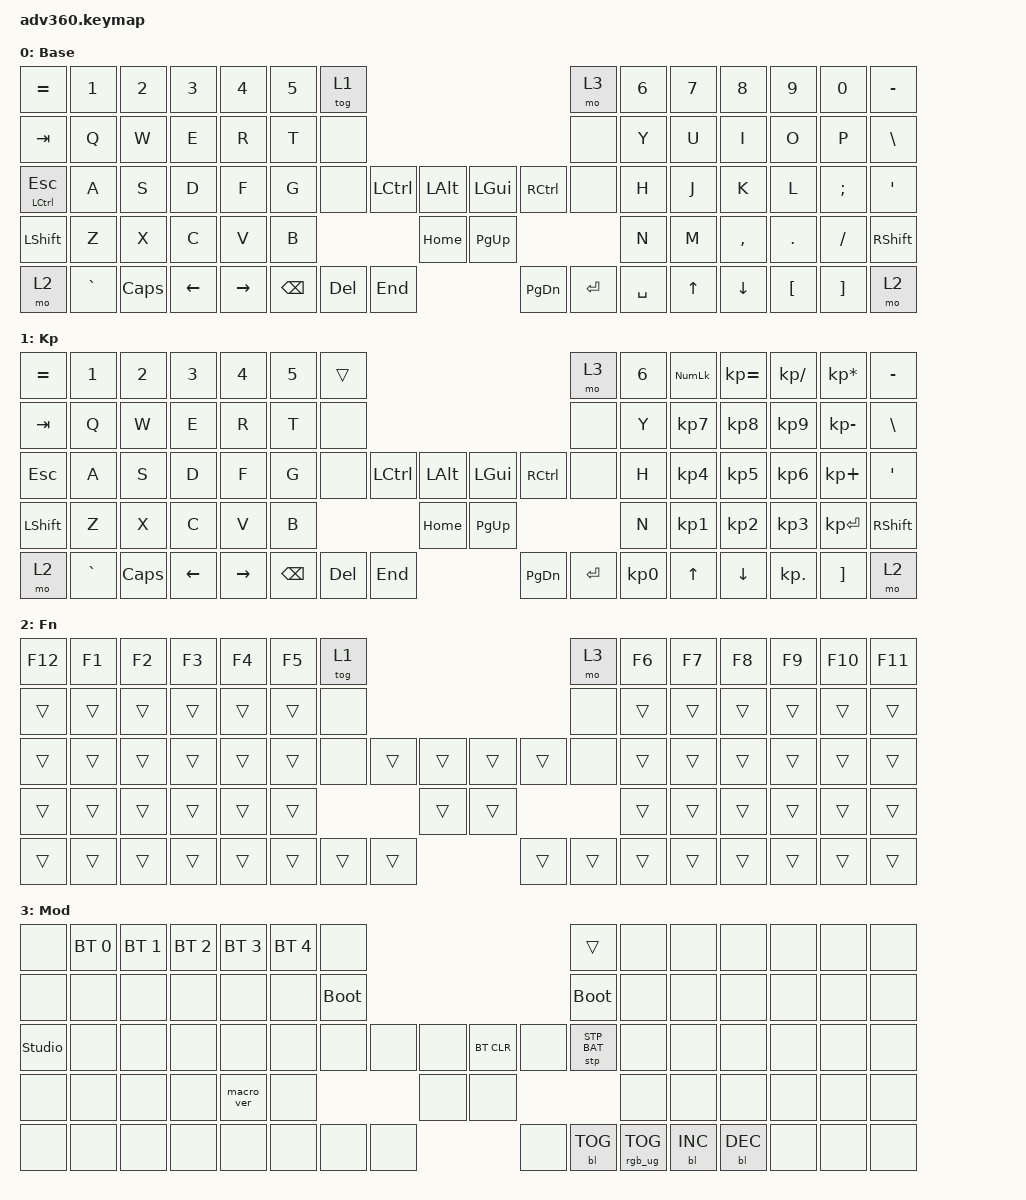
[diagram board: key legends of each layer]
#include <behaviors.dtsi>
#include <dt-bindings/zmk/keys.h>
#include <dt-bindings/zmk/bt.h>
#include <dt-bindings/zmk/rgb.h>
#include <dt-bindings/zmk/stp.h>
#include <dt-bindings/zmk/backlight.h>
#include <dt-bindings/zmk/pointing.h>

/ {
    behaviors {
      #include "macros.dtsi"
      #include "version.dtsi"

      hm: homerow_mods {
          compatible = "zmk,behavior-hold-tap";
          label = "HOMEROW_MODS";
          #binding-cells = <2>;
          tapping-term-ms = <200>;
          quick_tap_ms = <175>;
          flavor = "tap-preferred";
          bindings = <&kp>, <&kp>;
      };

      // ESC / CTRL : 単押し=ESC、長押し(または他キーとの同時押し)=CTRL
      ec: esc_ctrl {
          compatible = "zmk,behavior-hold-tap";
          label = "ESC_CTRL";
          #binding-cells = <2>;
          tapping-term-ms = <200>;
          quick-tap-ms = <150>;
          flavor = "balanced";
          bindings = <&kp>, <&kp>;
      };

      // ---- 日本語入力用マクロ (ローマ字を送出) ----
      // wait-ms / tap-ms は全マクロ共通で調整してください (USB想定=10ms、Bluetoothなら30ms以上を推奨)

      // a+Enter : 撥音 ann
      ja_ann: ja_ann {
          compatible = "zmk,behavior-macro";
          label = "ja_ann";
          #binding-cells = <0>;
          wait-ms = <10>;
          tap-ms = <10>;
          bindings = <&macro_tap &kp A &kp N &kp N>;
      };

      // i+Enter : 撥音 inn
      ja_inn: ja_inn {
          compatible = "zmk,behavior-macro";
          label = "ja_inn";
          #binding-cells = <0>;
          wait-ms = <10>;
          tap-ms = <10>;
          bindings = <&macro_tap &kp I &kp N &kp N>;
      };

      // u+Enter : 撥音 unn
      ja_unn: ja_unn {
          compatible = "zmk,behavior-macro";
          label = "ja_unn";
          #binding-cells = <0>;
          wait-ms = <10>;
          tap-ms = <10>;
          bindings = <&macro_tap &kp U &kp N &kp N>;
      };

      // e+Enter : 撥音 enn
      ja_enn: ja_enn {
          compatible = "zmk,behavior-macro";
          label = "ja_enn";
          #binding-cells = <0>;
          wait-ms = <10>;
          tap-ms = <10>;
          bindings = <&macro_tap &kp E &kp N &kp N>;
      };

      // o+Enter : 撥音 onn
      ja_onn: ja_onn {
          compatible = "zmk,behavior-macro";
          label = "ja_onn";
          #binding-cells = <0>;
          wait-ms = <10>;
          tap-ms = <10>;
          bindings = <&macro_tap &kp O &kp N &kp N>;
      };

      // A+Del : 拗音 ya
      ja_ya: ja_ya {
          compatible = "zmk,behavior-macro";
          label = "ja_ya";
          #binding-cells = <0>;
          wait-ms = <10>;
          tap-ms = <10>;
          bindings = <&macro_tap &kp Y &kp A>;
      };

      // U+Del : 拗音 yu
      ja_yu: ja_yu {
          compatible = "zmk,behavior-macro";
          label = "ja_yu";
          #binding-cells = <0>;
          wait-ms = <10>;
          tap-ms = <10>;
          bindings = <&macro_tap &kp Y &kp U>;
      };

      // O+Del : 拗音 yo
      ja_yo: ja_yo {
          compatible = "zmk,behavior-macro";
          label = "ja_yo";
          #binding-cells = <0>;
          wait-ms = <10>;
          tap-ms = <10>;
          bindings = <&macro_tap &kp Y &kp O>;
      };

      // I+Del : hi (dhi=でぃ, thi=てぃ, whi=うぃ)
      ja_hi: ja_hi {
          compatible = "zmk,behavior-macro";
          label = "ja_hi";
          #binding-cells = <0>;
          wait-ms = <10>;
          tap-ms = <10>;
          bindings = <&macro_tap &kp H &kp I>;
      };

      // E+Del : he (she=しぇ, che=ちぇ)
      ja_he: ja_he {
          compatible = "zmk,behavior-macro";
          label = "ja_he";
          #binding-cells = <0>;
          wait-ms = <10>;
          tap-ms = <10>;
          bindings = <&macro_tap &kp H &kp E>;
      };

      // A+BS : 二重母音 ai
      ja_ai: ja_ai {
          compatible = "zmk,behavior-macro";
          label = "ja_ai";
          #binding-cells = <0>;
          wait-ms = <10>;
          tap-ms = <10>;
          bindings = <&macro_tap &kp A &kp I>;
      };

      // I+BS : 二重母音 ii
      ja_ii: ja_ii {
          compatible = "zmk,behavior-macro";
          label = "ja_ii";
          #binding-cells = <0>;
          wait-ms = <10>;
          tap-ms = <10>;
          bindings = <&macro_tap &kp I &kp I>;
      };

      // U+BS : 二重母音 ui
      ja_ui: ja_ui {
          compatible = "zmk,behavior-macro";
          label = "ja_ui";
          #binding-cells = <0>;
          wait-ms = <10>;
          tap-ms = <10>;
          bindings = <&macro_tap &kp U &kp I>;
      };

      // E+BS : 二重母音 ei
      ja_ei: ja_ei {
          compatible = "zmk,behavior-macro";
          label = "ja_ei";
          #binding-cells = <0>;
          wait-ms = <10>;
          tap-ms = <10>;
          bindings = <&macro_tap &kp E &kp I>;
      };

      // O+BS : 二重母音 ou
      ja_ou: ja_ou {
          compatible = "zmk,behavior-macro";
          label = "ja_ou";
          #binding-cells = <0>;
          wait-ms = <10>;
          tap-ms = <10>;
          bindings = <&macro_tap &kp O &kp U>;
      };

      // O+Del+BS : ょう (3キー・現在は未使用)
      ja_you: ja_you {
          compatible = "zmk,behavior-macro";
          label = "ja_you";
          #binding-cells = <0>;
          wait-ms = <10>;
          tap-ms = <10>;
          bindings = <&macro_tap &kp Y &kp O &kp U>;
      };

      // U+Del+BS : ゅう (3キー・現在は未使用)
      ja_yuu: ja_yuu {
          compatible = "zmk,behavior-macro";
          label = "ja_yuu";
          #binding-cells = <0>;
          wait-ms = <10>;
          tap-ms = <10>;
          bindings = <&macro_tap &kp Y &kp U &kp U>;
      };
    };

  keymap {
    compatible = "zmk,keymap";

    default_layer {
      display-name = "Base";
      bindings = <
        &kp EQUAL &kp N1    &kp N2   &kp N3   &kp N4     &kp N5 &tog 1                                                           &mo 3 &kp N6 &kp N7 &kp N8    &kp N9   &kp N0   &kp MINUS
        &kp TAB   &kp Q     &kp W    &kp E    &kp R      &kp T  &none                                                            &none &kp Y  &kp U  &kp I     &kp O    &kp P    &kp BSLH
        &ec LCTRL ESC &kp A     &kp S    &kp D    &kp F      &kp G  &none           &kp LCTRL &kp LALT &kp LGUI  &kp RCTRL           &none &kp H  &kp J  &kp K     &kp L    &kp SEMI &kp SQT
        &kp LSHFT &kp Z     &kp X    &kp C    &kp V      &kp B                            &kp HOME &kp PG_UP                           &kp N  &kp M  &kp COMMA &kp DOT  &kp FSLH &kp RSHFT
        &mo 2     &kp GRAVE &kp CAPS &kp LEFT &kp RIGHT                &kp BSPC &kp DEL   &kp END  &kp PG_DN &kp ENTER &kp SPACE              &kp UP &kp DOWN  &kp LBKT &kp RBKT &mo 2
      >;
    };
    keypad {
      display-name = "Kp";
      bindings = <
        &kp EQUAL &kp N1    &kp N2   &kp N3   &kp N4     &kp N5 &trans                                                           &mo 3 &kp N6 &kp KP_NUM &kp KP_EQUAL &kp KP_DIVIDE &kp KP_MULTIPLY &kp MINUS
        &kp TAB   &kp Q     &kp W    &kp E    &kp R      &kp T  &none                                                            &none &kp Y  &kp KP_N7  &kp KP_N8    &kp KP_N9     &kp KP_MINUS    &kp BSLH
        &kp ESC   &kp A     &kp S    &kp D    &kp F      &kp G  &none           &kp LCTRL &kp LALT &kp LGUI  &kp RCTRL           &none &kp H  &kp KP_N4  &kp KP_N5    &kp KP_N6     &kp KP_PLUS     &kp SQT
        &kp LSHFT &kp Z     &kp X    &kp C    &kp V      &kp B                            &kp HOME &kp PG_UP                           &kp N  &kp KP_N1  &kp KP_N2    &kp KP_N3     &kp KP_ENTER    &kp RSHFT
        &mo 2     &kp GRAVE &kp CAPS &kp LEFT &kp RIGHT                &kp BSPC &kp DEL   &kp END  &kp PG_DN &kp ENTER &kp KP_N0              &kp UP     &kp DOWN     &kp KP_DOT    &kp RBKT        &mo 2
      >;
    };
    fn {
      display-name = "Fn";
      bindings = <
        &kp F12 &kp F1 &kp F2 &kp F3 &kp F4 &kp F5 &tog 1                                           &mo 3 &kp F6 &kp F7 &kp F8 &kp F9 &kp F10 &kp F11
        &trans &trans &trans &trans &trans &trans  &none                                           &none &trans &trans &trans &trans  &trans  &trans
        &trans &trans &trans &trans &trans &trans  &none        &trans &trans &trans &trans        &none &trans &trans &trans &trans  &trans  &trans
        &trans &trans &trans &trans &trans &trans                      &trans &trans                     &trans &trans &trans &trans  &trans  &trans
        &trans &trans &trans &trans &trans               &trans &trans &trans &trans &trans &trans              &trans &trans &trans  &trans  &trans
      >;
    };
    mod {
      display-name = "Mod";
      bindings = <
        &none &bt BT_SEL 0 &bt BT_SEL 1 &bt BT_SEL 2 &bt BT_SEL 3 &bt BT_SEL 4 &none                                                                     &trans                 &none        &none        &none        &none &none &none
        &none &none        &none        &none        &none        &none        &bootloader                                                               &bootloader            &none        &none        &none        &none &none &none
        &studio_unlock &none        &none        &none        &none        &none        &none                   &none &none &bt BT_CLR &none                      &stp STP_BAT &none        &none        &none        &none &none &none
        &none &none        &none        &none        &macro_ver   &none                                      &none &none                                                        &none        &none        &none        &none &none &none
        &none &none        &none        &none        &none                                       &none &none &none &none      &bl BL_TOG &rgb_ug RGB_TOG                                     &bl BL_INC   &bl BL_DEC   &none &none &none
      >;
    };
    extra1 { 
      display-name = "Red";    
      status = "reserved";
    };

    extra2 { 
      display-name = "Purple";    
      status = "reserved";
    };

    extra3 { 
      display-name = "Cyan";    
      status = "reserved";
    };

    extra4 { 
      display-name = "Yellow";    
      status = "reserved";
    };
  };

  // ======== 日本語入力コンボ (ベースレイヤーのみ) ========
  // 子音を普通に打ち、直後に「母音 + 親指キー」を同時押しする。
  // ん=母音+Enter / 拗音(ya yu yo hi he)=母音+Del / 二重母音=母音+BS または 母音+PgDn / 長音=Del+Enter
  // timeout-ms を全コンボで調整してください。
  // 並び順: 長音(Del系) → 2キー。通常=60ms、長音(Del+Enter)=80ms。3キー(ょう/ゅう)は外してある (ja_you/ja_yuu マクロは残置)。
  combos {
    compatible = "zmk,combos";

    // Del+Enter -> ー
    combo_choon_enter {
      timeout-ms = <80>;
      key-positions = <66 69>;
      layers = <0>;
      bindings = <&kp MINUS>;
    };




    // A+Enter -> ann
    combo_a_nn {
      timeout-ms = <60>;
      key-positions = <29 69>;
      layers = <0>;
      bindings = <&ja_ann>;
    };

    // I+Enter -> inn
    combo_i_nn {
      timeout-ms = <60>;
      key-positions = <24 69>;
      layers = <0>;
      bindings = <&ja_inn>;
    };

    // U+Enter -> unn
    combo_u_nn {
      timeout-ms = <60>;
      key-positions = <23 69>;
      layers = <0>;
      bindings = <&ja_unn>;
    };

    // E+Enter -> enn
    combo_e_nn {
      timeout-ms = <60>;
      key-positions = <17 69>;
      layers = <0>;
      bindings = <&ja_enn>;
    };

    // O+Enter -> onn
    combo_o_nn {
      timeout-ms = <60>;
      key-positions = <25 69>;
      layers = <0>;
      bindings = <&ja_onn>;
    };

    // A+Del -> ja_ya
    combo_a_yoon {
      timeout-ms = <60>;
      key-positions = <29 66>;
      layers = <0>;
      bindings = <&ja_ya>;
    };

    // U+Del -> ja_yu
    combo_u_yoon {
      timeout-ms = <60>;
      key-positions = <23 66>;
      layers = <0>;
      bindings = <&ja_yu>;
    };

    // O+Del -> ja_yo
    combo_o_yoon {
      timeout-ms = <60>;
      key-positions = <25 66>;
      layers = <0>;
      bindings = <&ja_yo>;
    };

    // I+Del -> ja_hi
    combo_i_yoon {
      timeout-ms = <60>;
      key-positions = <24 66>;
      layers = <0>;
      bindings = <&ja_hi>;
    };

    // E+Del -> ja_he
    combo_e_yoon {
      timeout-ms = <60>;
      key-positions = <17 66>;
      layers = <0>;
      bindings = <&ja_he>;
    };

    // A+BS -> ja_ai
    combo_a_bs {
      timeout-ms = <60>;
      key-positions = <29 65>;
      layers = <0>;
      bindings = <&ja_ai>;
    };

    // I+BS -> ja_ii
    combo_i_bs {
      timeout-ms = <60>;
      key-positions = <24 65>;
      layers = <0>;
      bindings = <&ja_ii>;
    };

    // U+BS -> ja_ui
    combo_u_bs {
      timeout-ms = <60>;
      key-positions = <23 65>;
      layers = <0>;
      bindings = <&ja_ui>;
    };

    // E+BS -> ja_ei
    combo_e_bs {
      timeout-ms = <60>;
      key-positions = <17 65>;
      layers = <0>;
      bindings = <&ja_ei>;
    };

    // O+BS -> ja_ou
    combo_o_bs {
      timeout-ms = <60>;
      key-positions = <25 65>;
      layers = <0>;
      bindings = <&ja_ou>;
    };

    // A+PgDn -> ja_ai (二重母音の第2ペダル)
    combo_a_pgdn {
      timeout-ms = <60>;
      key-positions = <29 68>;
      layers = <0>;
      bindings = <&ja_ai>;
    };

    // I+PgDn -> ja_ii (二重母音の第2ペダル)
    combo_i_pgdn {
      timeout-ms = <60>;
      key-positions = <24 68>;
      layers = <0>;
      bindings = <&ja_ii>;
    };

    // U+PgDn -> ja_ui (二重母音の第2ペダル)
    combo_u_pgdn {
      timeout-ms = <60>;
      key-positions = <23 68>;
      layers = <0>;
      bindings = <&ja_ui>;
    };

    // E+PgDn -> ja_ei (二重母音の第2ペダル)
    combo_e_pgdn {
      timeout-ms = <60>;
      key-positions = <17 68>;
      layers = <0>;
      bindings = <&ja_ei>;
    };

    // O+PgDn -> ja_ou (二重母音の第2ペダル)
    combo_o_pgdn {
      timeout-ms = <60>;
      key-positions = <25 68>;
      layers = <0>;
      bindings = <&ja_ou>;
    };
  };
};
